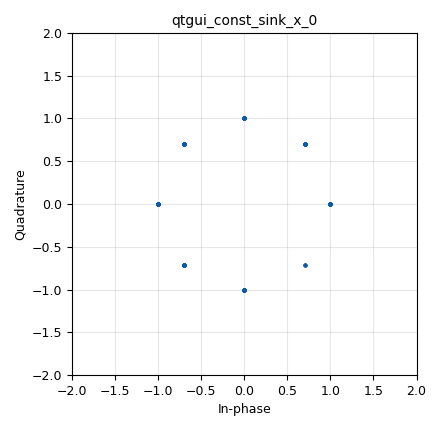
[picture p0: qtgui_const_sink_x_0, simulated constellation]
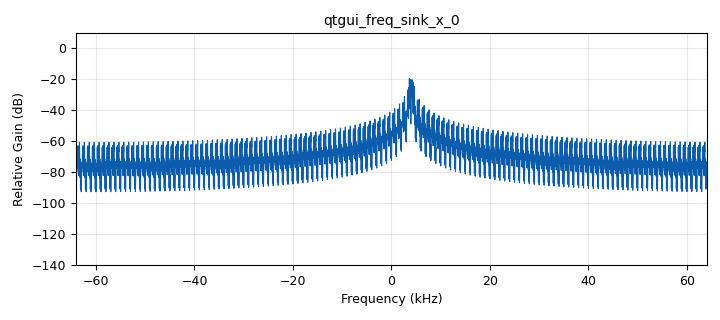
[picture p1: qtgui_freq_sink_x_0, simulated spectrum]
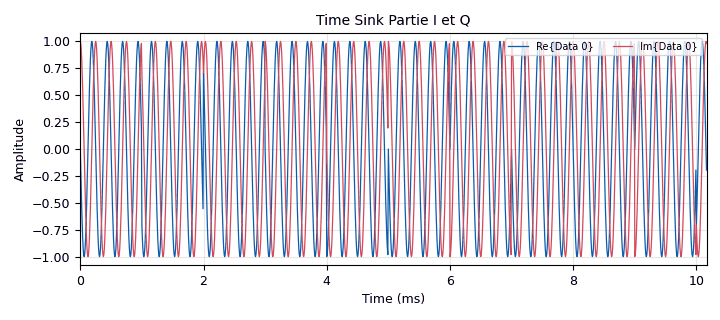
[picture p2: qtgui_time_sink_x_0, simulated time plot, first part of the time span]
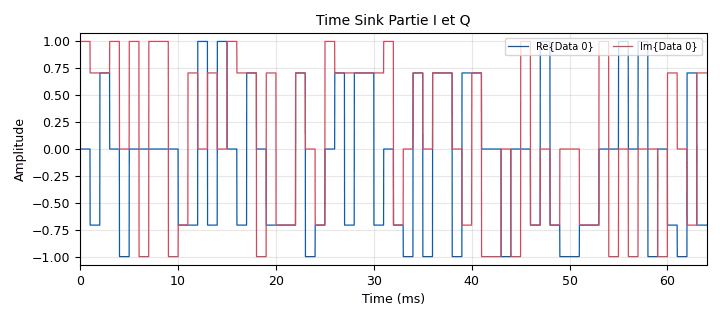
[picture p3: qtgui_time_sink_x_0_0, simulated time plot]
options:
  parameters:
    generate_options: qt_gui
    id: QPSK
    output_language: python
    title: Not titled yet
  states: {}

blocks:
- name: Fc
  id: variable
  parameters:
    value: '4000'
  states: {}
- name: Fs
  id: variable
  parameters:
    value: 4 * Fc
  states: {}
- name: samp_rate
  id: variable
  parameters:
    value: '128000'
  states: {}
- name: symbol_rate
  id: variable
  parameters:
    value: '1000'
  states: {}
- name: analog_random_source_x_0
  id: analog_random_source_x
  parameters:
    max: '2'
    min: '0'
    num_samps: '64'
    repeat: 'True'
    type: byte
  states: {}
- name: analog_sig_source_x_0
  id: analog_sig_source_x
  parameters:
    amp: '1'
    freq: Fc
    offset: '0'
    phase: '0'
    samp_rate: samp_rate
    type: complex
    waveform: analog.GR_COS_WAVE
  states: {}
- name: blocks_multiply_xx_0
  id: blocks_multiply_xx
  parameters:
    type: complex
  states: {}
- name: blocks_pack_k_bits_bb_0
  id: blocks_pack_k_bits_bb
  parameters:
    k: '3'
  states: {}
- name: blocks_repeat_0_0
  id: blocks_repeat
  parameters:
    interp: int(samp_rate/symbol_rate)
    type: complex
  states: {}
- name: blocks_throttle2_0
  id: blocks_throttle2
  parameters:
    samples_per_second: samp_rate
    type: complex
  states: {}
- name: digital_chunks_to_symbols_xx_0
  id: digital_chunks_to_symbols_xx
  parameters:
    dimension: '1'
    in_type: byte
    out_type: complex
    symbol_table: '[numpy.exp(1j*2*numpy.pi*k/8) for k in range(8)]'
  states: {}
- name: note_0
  id: note
  parameters:
    note: 4 périodes par symbole
  states: {}
- name: note_0_0
  id: note
  parameters:
    note: symbol_rate < Fc*2
  states: {}
- name: note_0_1
  id: note
  parameters:
    note: samp_rate / symbol_rate
  states: {}
- name: note_0_2
  id: note
  parameters:
    note: Fs > 2 * Fc
  states: {}
- name: qtgui_const_sink_x_0
  id: qtgui_const_sink_x
  parameters:
    size: '1024'
    type: complex
  states: {}
- name: qtgui_freq_sink_x_0
  id: qtgui_freq_sink_x
  parameters:
    bw: samp_rate
    fc: '0'
    fftsize: '8192'
    type: complex
  states: {}
- name: qtgui_time_sink_x_0
  id: qtgui_time_sink_x
  parameters:
    name: Time Sink Partie I et Q
    size: '8192'
    srate: samp_rate
    type: complex
  states: {}
- name: qtgui_time_sink_x_0_0
  id: qtgui_time_sink_x
  parameters:
    name: Time Sink Partie I et Q
    size: '8192'
    srate: samp_rate
    type: complex
  states: {}

connections:
- [analog_random_source_x_0, '0', blocks_pack_k_bits_bb_0, '0']
- [analog_sig_source_x_0, '0', blocks_multiply_xx_0, '0']
- [blocks_multiply_xx_0, '0', blocks_throttle2_0, '0']
- [blocks_multiply_xx_0, '0', qtgui_time_sink_x_0, '0']
- [blocks_pack_k_bits_bb_0, '0', digital_chunks_to_symbols_xx_0, '0']
- [blocks_repeat_0_0, '0', blocks_multiply_xx_0, '1']
- [blocks_repeat_0_0, '0', qtgui_time_sink_x_0_0, '0']
- [blocks_throttle2_0, '0', qtgui_freq_sink_x_0, '0']
- [digital_chunks_to_symbols_xx_0, '0', blocks_repeat_0_0, '0']
- [digital_chunks_to_symbols_xx_0, '0', qtgui_const_sink_x_0, '0']

metadata:
  file_format: 1
  grc_version: 3.10.12.0
